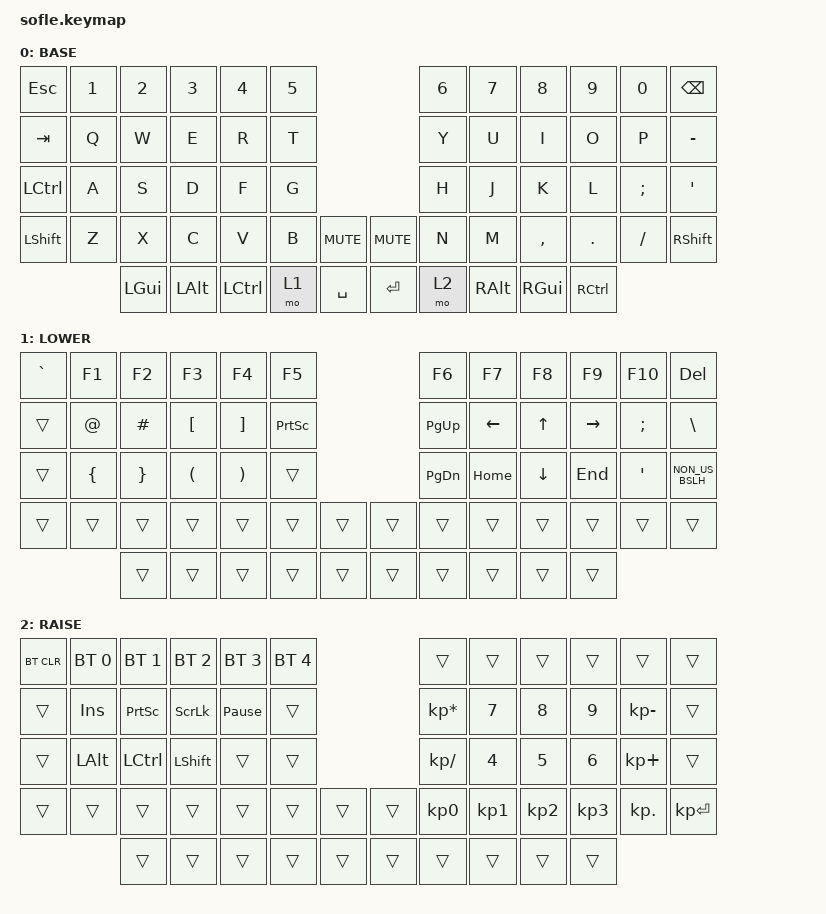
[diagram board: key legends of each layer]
#include <behaviors.dtsi>
#include <dt-bindings/zmk/keys.h>
#include <dt-bindings/zmk/bt.h>

/ {
    keymap {
        compatible = "zmk,keymap";

        default_layer {
            label = "BASE";
            bindings = < 
&kp ESC    &kp N1 &kp N2   &kp N3    &kp N4    &kp N5                        &kp N6          &kp N7    &kp N8    &kp N9    &kp N0    &kp BSPC
&kp TAB    &kp Q  &kp W    &kp E     &kp R     &kp T                         &kp Y           &kp U     &kp I     &kp O     &kp P     &kp MINUS
&kp LCTRL  &kp A  &kp S    &kp D     &kp F     &kp G                         &kp H           &kp J     &kp K     &kp L     &kp SEMI  &kp SQT
&kp LSHFT  &kp Z  &kp X    &kp C     &kp V     &kp B   &kp C_MUTE &kp C_MUTE &kp N           &kp M     &kp COMMA &kp DOT   &kp FSLH  &kp RSHFT
                  &kp LGUI &kp LALT  &kp LCTRL &mo 1   &kp SPACE  &kp RET    &mo 2           &kp RALT  &kp RGUI  &kp RCTRL
            >;
        };

        lower_layer {
            label = "LOWER";
            bindings = <
&kp GRAVE  &kp F1   &kp F2   &kp F3    &kp F4    &kp F5                        &kp F6          &kp F7    &kp F8    &kp F9    &kp F10   &kp DEL
&trans     &kp AT   &kp HASH &kp LBKT  &kp RBKT  &kp PSCRN                     &kp PG_UP       &kp LEFT  &kp UP    &kp RIGHT &kp SEMI  &kp BSLH
&trans     &kp LBRC &kp RBRC &kp LPAR  &kp RPAR  &trans                        &kp PG_DN       &kp HOME  &kp DOWN  &kp END   &kp SQT   &kp NON_US_BSLH
&trans     &trans   &trans   &trans    &trans    &trans   &trans     &trans     &trans          &trans    &trans    &trans    &trans    &trans
                    &trans   &trans    &trans    &trans   &trans     &trans     &trans          &trans    &trans    &trans
            >;
        };

        raise_layer {
            label = "RAISE";
            bindings = <
&bt BT_CLR &bt BT_SEL 0 &bt BT_SEL 1 &bt BT_SEL 2 &bt BT_SEL 3 &bt BT_SEL 4               &trans          &trans    &trans    &trans    &trans       &trans
&trans     &kp INS      &kp PSCRN    &kp SLCK     &kp PAUSE_BREAK &trans                    &kp KP_MULTIPLY &kp N7    &kp N8    &kp N9    &kp KP_MINUS &trans
&trans     &kp LALT     &kp LCTRL    &kp LSHFT    &trans          &trans                    &kp KP_DIVIDE   &kp N4    &kp N5    &kp N6    &kp KP_PLUS  &trans
&trans     &trans       &trans       &trans       &trans          &trans   &trans   &trans   &kp KP_N0       &kp KP_N1 &kp KP_N2 &kp KP_N3 &kp KP_DOT  &kp KP_ENTER
                        &trans       &trans       &trans          &trans   &trans   &trans   &trans          &trans    &trans    &trans
            >;
        };
    };
};
